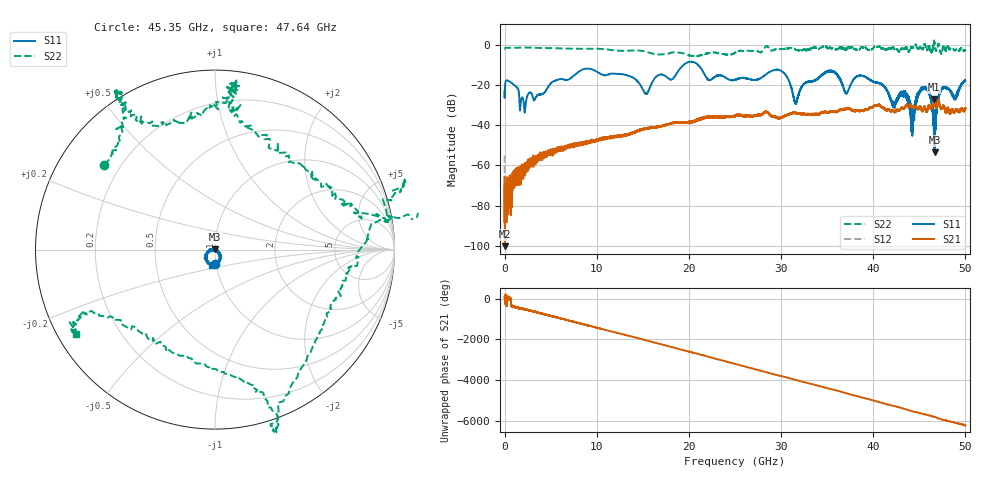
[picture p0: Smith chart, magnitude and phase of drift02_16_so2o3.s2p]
!Created with skrf (http://scikit-rf.org).
# Hz S RI R 50.0
!freq ReS11 ImS11 ReS21 ImS21 ReS12 ImS12 ReS22 ImS22
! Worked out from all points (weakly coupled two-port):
!   10001 points, 300 kHz to 50 GHz, reference 50 ohm
!   highest |S21| = -26.99 dB at 46.62 GHz (marker M1); lowest = -100.2 dB at 30.3 MHz (marker M2)
!   lowest |S11| = -53.5 dB at 46.65 GHz (marker M3), VSWR 1.00, Z = 49.8 + j0.0716 ohm
!   |S11| at or under -10 dB: start of sweep to 19.41 GHz; 21 GHz to end of sweep
!   |S22| runs from -5.7 to 2.2 dB; largest |S21 - S12| = 0.0039
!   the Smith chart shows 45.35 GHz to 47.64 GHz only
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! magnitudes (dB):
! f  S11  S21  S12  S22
! 300 kHz  -22.7  -65.7  -55.1  -2.1
! 30.3 MHz  -22.4  -100.2  -79.4  -1.8
! 260.3 MHz  -17.6  -74.5  -75.3  -1.4
! 2.19 GHz  -33.6  -63.8  -62.9  -1.3
! 8.335 GHz  -12.5  -49.6  -49.1  -1.9
! 15.33 GHz  -24.4  -41.9  -41.5  -3.4
! 16.67 GHz  -15.1  -40.9  -40.9  -4.8
! 20.28 GHz  -8.4  -38.0  -38.2  -5.5
! 25 GHz  -17.3  -35.2  -35.5  -3.9
! 29.85 GHz  -12.6  -36.3  -36.4  -2.0
! 31.59 GHz  -29.1  -33.8  -34.2  -2.4
! 33.34 GHz  -18.1  -34.4  -34.4  -1.6
! 37.1 GHz  -24.3  -31.8  -31.8  -2.3
! 38.76 GHz  -15.3  -32.5  -32.7  -1.0
! 41.67 GHz  -24.5  -32.2  -32.3  -1.8
! 43.46 GHz  -24.5  -31.0  -31.0  -1.7
! 44.26 GHz  -39.7  -31.1  -31.1  -1.5
! 45.69 GHz  -21.7  -32.3  -32.0  -0.5
! 46.62 GHz  -41.2  -27.0  -26.9  2.1
! 46.65 GHz  -53.5  -27.8  -28.0  0.7
! 47.47 GHz  -21.8  -31.9  -31.7  -3.3
! 50 GHz  -18.0  -31.5  -31.7  -2.6
